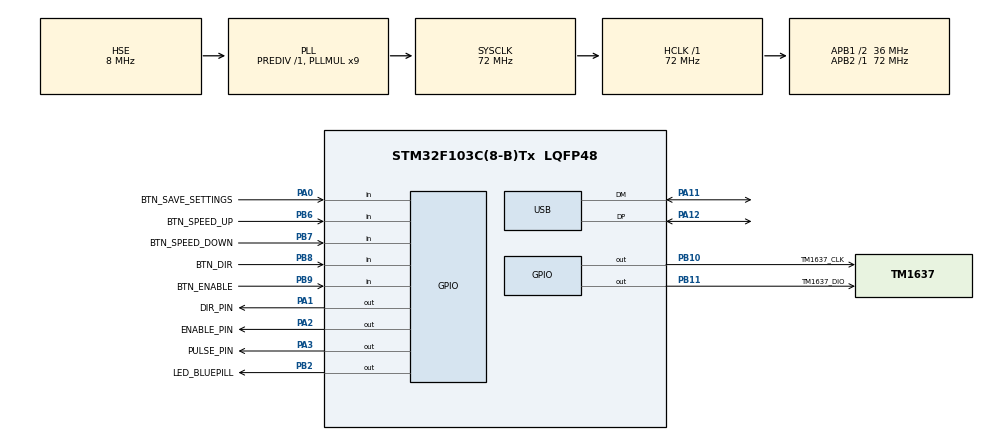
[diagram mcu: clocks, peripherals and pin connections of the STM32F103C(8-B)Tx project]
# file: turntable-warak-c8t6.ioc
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Mcu.Family=STM32F1
Mcu.Name=STM32F103C(8-B)Tx
Mcu.Package=LQFP48
NVIC.PriorityGroup=NVIC_PRIORITYGROUP_4
NVIC.TIM2_IRQn=true\:0\:0\:false\:false\:true\:true\:true\:true
NVIC.USB_LP_CAN1_RX0_IRQn=true\:0\:0\:false\:false\:true\:false\:true\:true
PA0-WKUP.GPIO_Label=BTN_SAVE_SETTINGS
PA0-WKUP.GPIO_Mode=GPIO_MODE_INPUT
PA0-WKUP.GPIO_PuPd=GPIO_PULLDOWN
PA0-WKUP.Signal=GPIO_Input
PA1.GPIO_Label=DIR_PIN
PA1.Signal=GPIO_Output
PA11.Mode=Device
PA11.Signal=USB_DM
PA12.Mode=Device
PA12.Signal=USB_DP
PA13.Mode=Serial_Wire
PA13.Signal=SYS_JTMS-SWDIO
PA14.Mode=Serial_Wire
PA14.Signal=SYS_JTCK-SWCLK
PA2.GPIO_Label=ENABLE_PIN
PA2.Signal=GPIO_Output
PA3.GPIO_Label=PULSE_PIN
PA3.Signal=GPIO_Output
PB10.GPIO_Label=TM1637_CLK
PB10.GPIO_PuPd=GPIO_NOPULL
PB10.GPIO_Speed=GPIO_SPEED_FREQ_HIGH
PB10.Signal=GPIO_Output
PB11.GPIO_Label=TM1637_DIO
PB11.GPIO_PuPd=GPIO_NOPULL
PB11.GPIO_Speed=GPIO_SPEED_FREQ_HIGH
PB11.Signal=GPIO_Output
PB2.GPIO_Label=LED_BLUEPILL
PB2.Signal=GPIO_Output
PB6.GPIO_Label=BTN_SPEED_UP
PB6.GPIO_Mode=GPIO_MODE_INPUT
PB6.GPIO_PuPd=GPIO_PULLUP
PB6.Signal=GPIO_Input
PB7.GPIO_Label=BTN_SPEED_DOWN
PB7.GPIO_Mode=GPIO_MODE_INPUT
PB7.GPIO_PuPd=GPIO_PULLUP
PB7.Signal=GPIO_Input
PB8.GPIO_Label=BTN_DIR
PB8.GPIO_Mode=GPIO_MODE_INPUT
PB8.GPIO_PuPd=GPIO_PULLUP
PB8.Signal=GPIO_Input
PB9.GPIO_Label=BTN_ENABLE
PB9.GPIO_Mode=GPIO_MODE_INPUT
PB9.GPIO_PuPd=GPIO_PULLUP
PB9.Signal=GPIO_Input
PD0-OSC_IN.Mode=HSE-External-Oscillator
PD0-OSC_IN.Signal=RCC_OSC_IN
PD1-OSC_OUT.Mode=HSE-External-Oscillator
PD1-OSC_OUT.Signal=RCC_OSC_OUT
ProjectManager.HeapSize=0x200
ProjectManager.StackSize=0x400
ProjectManager.TargetToolchain=STM32CubeIDE
RCC.AHBFreq_Value=72000000
RCC.APB1CLKDivider=RCC_HCLK_DIV2
RCC.APB1Freq_Value=36000000
RCC.APB1TimFreq_Value=72000000
RCC.APB2Freq_Value=72000000
RCC.APB2TimFreq_Value=72000000
RCC.HCLKFreq_Value=72000000
RCC.PLLMUL=RCC_PLL_MUL9
RCC.SYSCLKFreq_VALUE=72000000
RCC.SYSCLKSource=RCC_SYSCLKSOURCE_PLLCLK
RCC.USBFreq_Value=48000000
RCC.USBPrescaler=RCC_USBCLKSOURCE_PLL_DIV1_5
TIM2.AutoReloadPreload=TIM_AUTORELOAD_PRELOAD_DISABLE
TIM2.Period=65535
TIM2.Prescaler=2
USB_DEVICE.CLASS_NAME_FS=CDC
USB_DEVICE.VirtualMode=Cdc
USB_DEVICE.VirtualModeFS=Cdc_FS
VP_TIM2_VS_ClockSourceINT.Mode=Internal
VP_USB_DEVICE_VS_USB_DEVICE_CDC_FS.Mode=CDC_FS
board=custom

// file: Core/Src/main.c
/* USER CODE BEGIN Header */
/**
 ******************************************************************************
 * @file           : main.c
 * @brief          : Main program body
 ******************************************************************************
 * @attention
 *
 * Copyright (c) 2025 STMicroelectronics.
 * All rights reserved.
 *
 * This software is licensed under terms that can be found in the LICENSE file
 * in the root directory of this software component.
 * If no LICENSE file comes with this software, it is provided AS-IS.
 *
 ******************************************************************************
 */
/* USER CODE END Header */
#include "main.h"
#include "usb_device.h"

/* USER CODE BEGIN Includes */
#include <stdio.h>
#include <string.h>
#include <stdlib.h> // For atoi
#include <usbd_cdc_if.h>
/* USER CODE END Includes */

/* USER CODE BEGIN PTD */
// TM1637 Commands
#define TM1637_CMD_SET_DATA 0x40
#define TM1637_CMD_SET_ADDR 0xC0
#define TM1637_CMD_SET_DSIPLAY 0x80
#define TM1637_CMD_STOP_DSIPLAY 0x8A

// Indeks untuk karakter khusus di segment_map
#define SEG_IDX_BLANK 10
#define SEG_IDX_MINUS 11 // Indeks baru untuk karakter '-'

// Stepper speed control
#define MAX_SPEED_LEVEL 100 // speed maksimum yang diperbolehkan
#define MIN_SPEED_LEVEL 1   // speed minimum yang diperbolehkan
#define DEFAULT_SPEED_LEVEL 5
#define PULSE_TIMER_BASE_ARR 65535 // Corresponds to slowest speed (larger ARR = slower)
#define PULSE_TIMER_ARR_STEP 611   // Amount ARR decreases per speed level increase
// Define a minimum practical ARR value for your timer at the highest speed
#define MINIMUM_TIMER_ARR_VALUE 200 // Example: Allows for high frequency. Adjust as needed.

// Flash memory settings
#define FLASH_SETTINGS_PAGE_ADDR 0x0800FC00 // Example: Last 1KB page on 64KB STM32F103C8

// Default Accel/Decel step delays in milliseconds (time between speed level increments/decrements)
#define DEFAULT_ACCEL_DELAY_MS 50 // ms per speed level change during acceleration
#define DEFAULT_DECEL_DELAY_MS 50 // ms per speed level change during deceleration
/* USER CODE END PTD */

TIM_HandleTypeDef htim2;

/* USER CODE BEGIN PV */
// Stepper motor state
volatile uint8_t g_motor_enabled_target = 0;                  // Target enabled state (to be saved/loaded)
volatile uint8_t g_motor_is_running = 0;                      // Actual running state (controlled by accel/decel)
volatile uint8_t g_motor_direction = 0;                       // 0 for CW, 1 for CCW
volatile uint32_t g_current_speed_level = 0;                  // Actual current speed level (0 means stopped)
volatile uint32_t g_target_speed_level = DEFAULT_SPEED_LEVEL; // Target speed for accel/decel

// Acceleration/Deceleration parameters
volatile uint32_t g_accel_step_delay_ms = DEFAULT_ACCEL_DELAY_MS;
volatile uint32_t g_decel_step_delay_ms = DEFAULT_DECEL_DELAY_MS;
volatile uint32_t g_last_accel_decel_tick = 0;

// TM1637 Display
extern TIM_HandleTypeDef htim2; // Timer for stepper pulses

// Button debounce
uint32_t g_last_btn_speed_up_time = 0;
uint32_t g_last_btn_speed_down_time = 0;
uint32_t g_last_btn_dir_time = 0;
uint32_t g_last_btn_enable_time = 0;
uint32_t g_last_btn_save_time = 0; // For save button
const uint32_t DEBOUNCE_DELAY_MS = 150;

// Perbarui tm1637_segment_map untuk menyertakan karakter minus
const uint8_t tm1637_segment_map[] = {
    0x3f, // 0
    0x06, // 1
    0x5b, // 2
    0x4f, // 3
    0x66, // 4
    0x6d, // 5
    0x7d, // 6
    0x07, // 7
    0x7f, // 8
    0x6f, // 9
    0x00, // 10: Karakter Kosong (Blank)
    0x40  // 11: Karakter Minus '-' (hanya segmen G)
};

// Settings structure for Flash
typedef struct
{
  uint32_t speed_level_target; // Target speed level when enabled
  uint32_t direction;
  uint32_t enabled_on_startup; // Should motor be enabled after loading?
  uint32_t accel_delay_ms;
  uint32_t decel_delay_ms;
  uint32_t checksum; // Simple checksum for data integrity
} StepperSettings_TypeDef;

StepperSettings_TypeDef g_persistent_settings;
uint8_t g_save_settings_flag = 0;

// USB VCP Buffer
extern uint8_t UserRxBufferFS[APP_RX_DATA_SIZE]; // Defined in usbd_cdc_if.c
extern uint8_t UserTxBufferFS[APP_TX_DATA_SIZE]; // Defined in usbd_cdc_if.c
/* USER CODE END PV */

void SystemClock_Config(void);
static void MX_GPIO_Init(void);
static void MX_TIM2_Init(void);

/* USER CODE BEGIN 0 */
// Basic delay function for TM1637 bit-banging
void tm1637_delay_us(uint32_t us)
{
  volatile uint32_t count = us * (SystemCoreClock / 1000000 / 5); // Adjust divisor for accuracy
  while (count--)
    ;
}

// GPIO wrappers for TM1637
void tm1637_clk_high(void) { HAL_GPIO_WritePin(TM1637_CLK_GPIO_Port, TM1637_CLK_Pin, GPIO_PIN_SET); }
void tm1637_clk_low(void) { HAL_GPIO_WritePin(TM1637_CLK_GPIO_Port, TM1637_CLK_Pin, GPIO_PIN_RESET); }
void tm1637_dio_high(void) { HAL_GPIO_WritePin(TM1637_DIO_GPIO_Port, TM1637_DIO_Pin, GPIO_PIN_SET); }
void tm1637_dio_low(void) { HAL_GPIO_WritePin(TM1637_DIO_GPIO_Port, TM1637_DIO_Pin, GPIO_PIN_RESET); }

void tm1637_start(void)
{
  tm1637_clk_high();
  tm1637_dio_high(); // Ensure DIO is high before CLK high to DIO low transition for start
  tm1637_delay_us(2);
  tm1637_dio_low();
  // tm1637_clk_low(); // Keep CLK low after start
  // tm1637_delay_us(5);
}

void tm1637_stop(void)
{
  tm1637_clk_low();
  tm1637_delay_us(2);
  tm1637_dio_low();
  tm1637_delay_us(2);
  tm1637_clk_high();
  tm1637_delay_us(2);
  tm1637_dio_high();
}

uint8_t tm1637_write_byte_ack(uint8_t byte)
{
  for (uint8_t i = 0; i < 8; i++)
  {
    tm1637_clk_low();
    // tm1637_delay_us(3);
    if (byte & 0x01)
    {
      tm1637_dio_high();
    }
    else
    {
      tm1637_dio_low();
    }
    tm1637_delay_us(3);
    byte >>= 1;
    tm1637_clk_high();
    tm1637_delay_us(3);
  }
  // Wait for ACK
  tm1637_clk_low();
  tm1637_delay_us(5);
  tm1637_clk_high();
  tm1637_delay_us(2);
  tm1637_clk_low();
  // tm1637_dio_high(); // Release DIO
  // uint8_t ack = HAL_GPIO_ReadPin(TM1637_DIO_GPIO_Port, TM1637_DIO_Pin); // Requires DIO to be input
  // return ack == 0; // ACK is low
  return 1; // Simplified: assume ACK ok
}

void tm1637_set_brightness(uint8_t brightness_0_to_7)
{
  tm1637_start();
  tm1637_write_byte_ack(TM1637_CMD_SET_DSIPLAY | (brightness_0_to_7 & 0x07) | 0x08); // 0x08 = display ON
  tm1637_stop();
}

void tm1637_display_segments_at_pos(uint8_t position_0_to_3, uint8_t segment_data)
{
  tm1637_start();
  tm1637_write_byte_ack(TM1637_CMD_SET_ADDR | (position_0_to_3 & 0x03));
  tm1637_write_byte_ack(segment_data);
  tm1637_stop();
}

// void tm1637_display_number(uint16_t number)
// {                                                                             // Displays 0-99 for speed
//   uint8_t digits[4] = {tm1637_segment_map[10], tm1637_segment_map[10], 0, 0}; // Blank, Blank, D1, D0

//   if (number > 99)
//     number = 99; // Cap at 99 for two-digit display

//   digits[2] = tm1637_segment_map[number / 10]; // Tens digit
//   digits[3] = tm1637_segment_map[number % 10]; // Units digit

//   // If number is less than 10, blank the tens digit (optional)
//   if (number < 10)
//   {
//     digits[2] = tm1637_segment_map[10]; // Blank
//   }

//   tm1637_start();
//   tm1637_write_byte_ack(TM1637_CMD_SET_DATA); // Data command: write data to display register, auto increment address
//   tm1637_stop();

//   tm1637_start();
//   tm1637_write_byte_ack(TM1637_CMD_SET_ADDR | 0x00); // Start at address 0 ( leftmost digit)
//   for (uint8_t i = 0; i < 4; i++)
//   {
//     tm1637_write_byte_ack(digits[i]);
//   }
//   tm1637_stop();
//   tm1637_set_brightness(7); // Ensure display is on with brightness
// }

// void tm1637_init(void)
// {
//   // GPIOs are configured by CubeMX
//   tm1637_set_brightness(7); // Set brightness and turn display on
//   tm1637_display_number(0); // Display 0 initially
// }

// FUNGSI BARU untuk menampilkan kecepatan dan arah
void tm1637_display_speed_direction(uint16_t speed, uint8_t motor_direction_flag)
{
  uint8_t display_segments[4]; // Array untuk menampung data segmen keempat digit

  // Digit 0 (paling kiri): Arah putaran
  // Asumsi: g_motor_direction = 1 berarti arah yang akan ditampilkan dengan '-'
  //         g_motor_direction = 0 berarti arah lain (kosong atau simbol lain)
  if (motor_direction_flag == 1)
  { // Jika arah perlu ditampilkan sebagai minus
    display_segments[0] = tm1637_segment_map[SEG_IDX_MINUS];
  }
  else
  {
    display_segments[0] = tm1637_segment_map[SEG_IDX_BLANK]; // Kosong untuk arah default
  }

  // Digit 1, 2, 3 (tiga digit paling kanan): Kecepatan
  // Batasi tampilan kecepatan hingga 999 jika MAX_SPEED_LEVEL Anda mendukungnya
  if (speed > 999)
  {
    speed = 999; // Tampilkan maksimal 999
  }

  // Ekstrak digit kecepatan (0-999)
  display_segments[1] = tm1637_segment_map[(speed / 100) % 10]; // Ratusan
  display_segments[2] = tm1637_segment_map[(speed / 10) % 10];  // Puluhan
  display_segments[3] = tm1637_segment_map[speed % 10];         // Satuan

  // Kirim data segmen ke TM1637
  tm1637_start();
  tm1637_write_byte_ack(TM1637_CMD_SET_DATA); // Perintah setting data: mode auto-increment address
  tm1637_stop();

  tm1637_start();
  tm1637_write_byte_ack(TM1637_CMD_SET_ADDR); // Set alamat awal ke digit paling kiri (0xC0)
  for (uint8_t i = 0; i < 4; i++)
  {
    tm1637_write_byte_ack(display_segments[i]);
  }
  tm1637_stop();

  tm1637_start();
  tm1637_write_byte_ack(TM1637_CMD_STOP_DSIPLAY);
  tm1637_stop();

  // Pastikan display menyala dengan brightness yang diinginkan (mungkin sudah di-set di tm1637_init)
  // tm1637_set_brightness(7); // Baris ini bisa ada atau tidak, tergantung preferensi
}

// Modifikasi tm1637_init untuk menggunakan fungsi display baru
void tm1637_init(void)
{
  // GPIOs are configured by CubeMX
  tm1637_set_brightness(7); // Set brightness and turn display on
  // Panggil fungsi display baru dengan nilai awal
  // Asumsikan arah awal adalah 0 (tidak minus) dan kecepatan awal 0
  tm1637_display_speed_direction(0, 0);
}

void stepper_update_speed_timer(void)
{
  // This function now uses g_current_speed_level which is gradually changed
  if (!g_motor_is_running || g_current_speed_level < MIN_SPEED_LEVEL)
  {
    HAL_TIM_Base_Stop_IT(&htim2);
    if (g_current_speed_level == 0 && g_motor_is_running)
    {
      g_motor_is_running = 0;                                                // Motor has effectively stopped
      HAL_GPIO_WritePin(ENABLE_PIN_GPIO_Port, ENABLE_PIN_Pin, GPIO_PIN_SET); // Disable driver if fully stopped
      // printf("Motor fully stopped (ARR update).\n"); // Already printed in accel/decel logic
    }
    return;
  }

  HAL_TIM_Base_Stop_IT(&htim2); // Stop timer before changing period

  uint32_t new_arr_value;
  if (g_current_speed_level <= MIN_SPEED_LEVEL)
  {
    new_arr_value = PULSE_TIMER_BASE_ARR; // ARR for the slowest defined speed
  }
  else
  {
    // Calculate ARR: higher speed level means smaller ARR (faster pulses)
    // Ensure the subtraction doesn't go too far with very high speed_levels
    uint32_t arr_reduction = (g_current_speed_level - MIN_SPEED_LEVEL) * PULSE_TIMER_ARR_STEP;

    if (arr_reduction >= PULSE_TIMER_BASE_ARR)
    { // Prevents underflow if reduction is too large
      new_arr_value = MINIMUM_TIMER_ARR_VALUE;
    }
    else
    {
      new_arr_value = PULSE_TIMER_BASE_ARR - arr_reduction;
    }
  }

  // Corrected Sanity check for ARR value
  if (new_arr_value < MINIMUM_TIMER_ARR_VALUE)
  {
    new_arr_value = MINIMUM_TIMER_ARR_VALUE; // Cap at minimum ARR (highest frequency)
  }
  if (new_arr_value > PULSE_TIMER_BASE_ARR)
  {                                       // Should not happen with current logic if MIN_SPEED_LEVEL is handled
    new_arr_value = PULSE_TIMER_BASE_ARR; // Cap at maximum ARR (slowest frequency)
  }

  __HAL_TIM_SET_AUTORELOAD(&htim2, new_arr_value);
  __HAL_TIM_SET_COUNTER(&htim2, 0); // Reset counter to apply new period immediately
  HAL_TIM_Base_Start_IT(&htim2);
}

// No direct stepper_enable/disable_motor. Instead, change g_motor_enabled_target.
// The accel/decel logic will handle actual start/stop.

void stepper_set_direction(uint8_t dir)
{
  HAL_GPIO_WritePin(DIR_PIN_GPIO_Port, DIR_PIN_Pin, (dir == 0) ? GPIO_PIN_RESET : GPIO_PIN_SET);
  g_motor_direction = dir;
  printf("Target Direction set to: %s\n", dir == 0 ? "CW" : "CCW");
}

// Accel/Decel handler (call this in the main loop)
void handle_acceleration_deceleration(void)
{
  uint32_t current_tick = HAL_GetTick();

  if (g_motor_enabled_target && g_current_speed_level < g_target_speed_level)
  {
    // Accelerate
    if (current_tick - g_last_accel_decel_tick >= g_accel_step_delay_ms)
    {
      if (!g_motor_is_running)
      {                                                                          // First step of enabling
        HAL_GPIO_WritePin(ENABLE_PIN_GPIO_Port, ENABLE_PIN_Pin, GPIO_PIN_RESET); // Enable driver
        g_motor_is_running = 1;
        printf("Motor starting (enabling driver)...\n");
      }
      g_current_speed_level++;
      stepper_update_speed_timer();
      g_last_accel_decel_tick = current_tick;
      // printf("Accel: Current Speed Level: %lu\n", g_current_speed_level);
    }
  }
  else if ((!g_motor_enabled_target && g_current_speed_level > 0) || (g_motor_enabled_target && g_current_speed_level > g_target_speed_level))
  {
    // Decelerate (either to stop or to a lower target speed)
    if (current_tick - g_last_accel_decel_tick >= g_decel_step_delay_ms)
    {
      g_current_speed_level--;
      stepper_update_speed_timer(); // This will stop timer if g_current_speed_level reaches 0
      g_last_accel_decel_tick = current_tick;
      // printf("Decel: Current Speed Level: %lu\n", g_current_speed_level);
      if (g_current_speed_level == 0 && !g_motor_enabled_target)
      {
        // If we were decelerating to stop, and now at 0
        // stepper_update_speed_timer would have called HAL_TIM_Base_Stop_IT
        // and also set g_motor_is_running = 0 and disabled EN pin.
      }
    }
  }
  else if (g_motor_enabled_target && g_current_speed_level == 0 && g_target_speed_level >= MIN_SPEED_LEVEL && !g_motor_is_running)
  {
    // Special case: Motor is enabled, target speed > 0, but current speed is 0 (e.g. just enabled)
    // Force first step of acceleration
    if (current_tick - g_last_accel_decel_tick >= g_accel_step_delay_ms)
    {
      HAL_GPIO_WritePin(ENABLE_PIN_GPIO_Port, ENABLE_PIN_Pin, GPIO_PIN_RESET); // Enable driver
      g_motor_is_running = 1;
      g_current_speed_level++;
      stepper_update_speed_timer();
      g_last_accel_decel_tick = current_tick;
      printf("Motor starting up, Accel: Current Speed Level: %lu\n", g_current_speed_level);
    }
  }

  // If target speed is 0 but motor_enabled_target is true, it implies we want to hold position (if driver supports)
  // For now, this logic assumes target_speed_level is MIN_SPEED_LEVEL if enabled.
  // Or, if g_target_speed_level is set to 0 explicitly, it will decelerate to 0.
  if (g_motor_enabled_target && g_target_speed_level == 0 && g_current_speed_level > 0)
  {
    // Decelerate to stop if target is 0 but motor is "enabled" (meaning it was running)
    if (current_tick - g_last_accel_decel_tick >= g_decel_step_delay_ms)
    {
      g_current_speed_level--;
      stepper_update_speed_timer();
      g_last_accel_decel_tick = current_tick;
    }
  }
}

void handle_buttons(void)
{
  uint32_t current_tick = HAL_GetTick();

  // Speed Up Button (PB6)
  if (HAL_GPIO_ReadPin(BTN_SPEED_UP_GPIO_Port, BTN_SPEED_UP_Pin) == GPIO_PIN_RESET)
  {
    if (current_tick - g_last_btn_speed_up_time > DEBOUNCE_DELAY_MS)
    {
      if (g_target_speed_level < MAX_SPEED_LEVEL)
      {
        g_target_speed_level++;
        printf("Target Speed Increased: %lu\n", g_target_speed_level);
      }
      g_last_btn_speed_up_time = current_tick;
    }
  }

  // Speed Down Button (PB7)
  if (HAL_GPIO_ReadPin(BTN_SPEED_DOWN_GPIO_Port, BTN_SPEED_DOWN_Pin) == GPIO_PIN_RESET)
  {
    if (current_tick - g_last_btn_speed_down_time > DEBOUNCE_DELAY_MS)
    {
      // Allow decreasing target speed to 0, which means "stop"
      if (g_target_speed_level > 0)
      { // Can go down to 0
        g_target_speed_level--;
        printf("Target Speed Decreased: %lu\n", g_target_speed_level);
      }
      if (g_target_speed_level == 0 && g_motor_enabled_target)
      {
        // If motor is enabled and target speed becomes 0, initiate stop
        printf("Target speed set to 0, motor will decelerate and stop.\n");
      }
      g_last_btn_speed_down_time = current_tick;
    }
  }

  // Direction Button (PB8)
  if (HAL_GPIO_ReadPin(BTN_DIR_GPIO_Port, BTN_DIR_Pin) == GPIO_PIN_RESET)
  {
    if (current_tick - g_last_btn_dir_time > DEBOUNCE_DELAY_MS)
    {
      stepper_set_direction(!g_motor_direction); // Toggles target direction
      g_last_btn_dir_time = current_tick;
    }
  }

  // Enable/Disable Button (PB9) - This now sets the *target* enabled state
  if (HAL_GPIO_ReadPin(BTN_ENABLE_GPIO_Port, BTN_ENABLE_Pin) == GPIO_PIN_RESET)
  {
    if (current_tick - g_last_btn_enable_time > DEBOUNCE_DELAY_MS)
    {
      g_motor_enabled_target = !g_motor_enabled_target;
      if (g_motor_enabled_target)
      {
        printf("Motor Enable Target: ON\n");
        if (g_target_speed_level == 0)
          g_target_speed_level = MIN_SPEED_LEVEL; // If enabling, ensure a minimum run speed
      }
      else
      {
        printf("Motor Enable Target: OFF (will decelerate to stop)\n");
        // Deceleration to 0 will be handled by handle_acceleration_deceleration
      }
      g_last_btn_enable_time = current_tick;
    }
  }

  // Save Settings Button (PA0)
  if (HAL_GPIO_ReadPin(BTN_SAVE_SETTINGS_GPIO_Port, BTN_SAVE_SETTINGS_Pin) == GPIO_PIN_SET)
  {
    if (current_tick - g_last_btn_save_time > DEBOUNCE_DELAY_MS)
    {
      g_save_settings_flag = 1; // Set flag to save in main loop
      printf("Save settings button pressed.\n");
      g_last_btn_save_time = current_tick;
    }
  }
}

uint32_t calculate_checksum(StepperSettings_TypeDef *settings)
{
  uint8_t *p_data = (uint8_t *)settings;
  uint32_t chk = 0;
  // Calculate checksum over all fields except the checksum field itself
  for (uint16_t i = 0; i < (sizeof(StepperSettings_TypeDef) - sizeof(uint32_t)); i++)
  {
    chk += p_data[i];
  }
  return chk;
}

void load_settings_from_flash(void)
{
  printf("Loading settings from Flash...\n");
  StepperSettings_TypeDef temp_settings;
  memcpy(&temp_settings, (void *)FLASH_SETTINGS_PAGE_ADDR, sizeof(StepperSettings_TypeDef));

  if (calculate_checksum(&temp_settings) == temp_settings.checksum)
  {
    g_persistent_settings = temp_settings;
    // Apply loaded settings
    g_target_speed_level = g_persistent_settings.speed_level_target;
    if (g_target_speed_level == 0)
      g_target_speed_level = MIN_SPEED_LEVEL; // Ensure a valid running speed if enabled
    if (g_target_speed_level > MAX_SPEED_LEVEL)
      g_target_speed_level = MAX_SPEED_LEVEL;

    g_motor_direction = g_persistent_settings.direction;
    g_motor_enabled_target = g_persistent_settings.enabled_on_startup; // This is the target state
    g_accel_step_delay_ms = g_persistent_settings.accel_delay_ms;
    g_decel_step_delay_ms = g_persistent_settings.decel_delay_ms;

    // Sanitize loaded accel/decel delays
    if (g_accel_step_delay_ms < 10)
      g_accel_step_delay_ms = 10;
    if (g_decel_step_delay_ms < 10)
      g_decel_step_delay_ms = 10;

    printf("Settings loaded: SpeedTgt=%lu, Dir=%d, EnStartup=%d, Accel=%lums, Decel=%lums\n",
           g_target_speed_level, g_motor_direction, g_motor_enabled_target,
           g_accel_step_delay_ms, g_decel_step_delay_ms);
  }
  else
  {
    printf("Flash checksum error or no valid settings. Loading defaults.\n");
    // Load default settings if checksum fails or first run
    g_target_speed_level = DEFAULT_SPEED_LEVEL;
    g_motor_direction = 0;
    g_motor_enabled_target = 0; // Default to disabled
    g_accel_step_delay_ms = DEFAULT_ACCEL_DELAY_MS;
    g_decel_step_delay_ms = DEFAULT_DECEL_DELAY_MS;
    // Optionally save these defaults back to flash
    // g_save_settings_flag = 1; // To save defaults on next opportunity
  }
  // Initialize current speed to 0, actual running state will be handled by enable logic
  g_current_speed_level = 0;
}

void save_settings_to_flash(void)
{
  printf("Preparing to save settings to Flash...\n");
  HAL_FLASH_Unlock();

  FLASH_EraseInitTypeDef EraseInitStruct;
  uint32_t PageError = 0;
  EraseInitStruct.TypeErase = FLASH_TYPEERASE_PAGES;
  EraseInitStruct.PageAddress = FLASH_SETTINGS_PAGE_ADDR;
  EraseInitStruct.NbPages = 1;

  if (HAL_FLASHEx_Erase(&EraseInitStruct, &PageError) != HAL_OK)
  {
    printf("Flash erase failed! Error: %lu\n", PageError);
    HAL_FLASH_Lock();
    return;
  }
  printf("Flash page erased.\n");

  // Prepare settings to save
  g_persistent_settings.speed_level_target = g_target_speed_level;
  g_persistent_settings.direction = g_motor_direction;
  g_persistent_settings.enabled_on_startup = g_motor_enabled_target;
  g_persistent_settings.accel_delay_ms = g_accel_step_delay_ms;
  g_persistent_settings.decel_delay_ms = g_decel_step_delay_ms;
  g_persistent_settings.checksum = calculate_checksum(&g_persistent_settings);

  // Program word by word (uint32_t)
  uint32_t *p_data = (uint32_t *)&g_persistent_settings;
  uint16_t num_words = sizeof(StepperSettings_TypeDef) / sizeof(uint32_t);
  if (sizeof(StepperSettings_TypeDef) % sizeof(uint32_t) != 0)
  {
    // If not perfectly divisible, may need to handle last few bytes differently or pad struct
    // For simplicity, ensure StepperSettings_TypeDef size is a multiple of 4 bytes.
  }

  for (uint16_t i = 0; i < num_words; i++)
  {
    if (HAL_FLASH_Program(FLASH_TYPEPROGRAM_WORD, FLASH_SETTINGS_PAGE_ADDR + (i * 4), p_data[i]) != HAL_OK)
    {
      printf("Flash program failed at word %u!\n", i);
      HAL_FLASH_Lock();
      return;
    }
  }

  HAL_FLASH_Lock();
  printf("Settings saved to Flash: SpeedTgt=%lu, Dir=%lu, EnStartup=%lu, Accel=%lums, Decel=%lums, Chksum=%lu\n",
         g_persistent_settings.speed_level_target, g_persistent_settings.direction,
         g_persistent_settings.enabled_on_startup, g_persistent_settings.accel_delay_ms,
         g_persistent_settings.decel_delay_ms, g_persistent_settings.checksum);
  g_save_settings_flag = 0; // Clear flag
}
/* USER CODE END 0 */

int main(void)
{

  /* MCU Configuration--------------------------------------------------------*/

  /* Reset of all peripherals, Initializes the Flash interface and the Systick. */
  HAL_Init();

  /* Configure the system clock */
  SystemClock_Config();

  /* Initialize all configured peripherals */
  MX_GPIO_Init();
  MX_USB_DEVICE_Init();
  MX_TIM2_Init();
  /* USER CODE BEGIN 2 */
  printf("Stepper Motor Control Initializing...\n");

  load_settings_from_flash(); // Load saved settings

  stepper_set_direction(g_motor_direction); // Apply loaded/default direction

  // If loaded settings indicate motor should be enabled on startup:
  if (g_persistent_settings.enabled_on_startup)
  {
    g_motor_enabled_target = 1;
    // Accel/decel logic will start it up to g_target_speed_level
    printf("Motor target set to ENABLED on startup. Target speed: %lu\n", g_target_speed_level);
  }
  else
  {
    g_motor_enabled_target = 0;
    g_current_speed_level = 0;                                             // Ensure it starts at 0 if not enabled on startup
    HAL_GPIO_WritePin(ENABLE_PIN_GPIO_Port, ENABLE_PIN_Pin, GPIO_PIN_SET); // Ensure driver is disabled
    g_motor_is_running = 0;
    printf("Motor target set to DISABLED on startup.\n");
  }
  g_last_accel_decel_tick = HAL_GetTick();

  printf("System Initialized. Current Speed: %lu, Target Speed: %lu\n", g_current_speed_level, g_target_speed_level);
  /* USER CODE END 2 */

  /* Infinite loop */
  /* USER CODE BEGIN WHILE */
  while (1)
  {
    handle_buttons();
    handle_acceleration_deceleration();

    if (g_save_settings_flag)
    {
      save_settings_to_flash(); // Perform save operation
      g_save_settings_flag = 0; // Reset flag
    }

    if (g_motor_is_running)
    {
      tm1637_display_speed_direction(g_current_speed_level, g_motor_direction);
      // tm1637_display_number(g_current_speed_level);
      HAL_GPIO_WritePin(LED_BLUEPILL_GPIO_Port, LED_BLUEPILL_Pin, GPIO_PIN_SET); // turn on led
    }
    else
    {
      tm1637_display_speed_direction(g_target_speed_level, g_motor_direction);
      // tm1637_display_number(g_current_speed_level);
      HAL_GPIO_WritePin(LED_BLUEPILL_GPIO_Port, LED_BLUEPILL_Pin, GPIO_PIN_RESET);
    }

    //    HAL_Delay(10); // Main loop delay - Accel/Decel timing is based on HAL_GetTick()

    /* USER CODE END WHILE */

  }
}

void SystemClock_Config(void)
{
  RCC_OscInitTypeDef RCC_OscInitStruct = {0};
  RCC_ClkInitTypeDef RCC_ClkInitStruct = {0};
  RCC_PeriphCLKInitTypeDef PeriphClkInit = {0};

  /** Initializes the RCC Oscillators according to the specified parameters
  * in the RCC_OscInitTypeDef structure.
  */
  RCC_OscInitStruct.OscillatorType = RCC_OSCILLATORTYPE_HSE;
  RCC_OscInitStruct.HSEState = RCC_HSE_ON;
  RCC_OscInitStruct.HSEPredivValue = RCC_HSE_PREDIV_DIV1;
  RCC_OscInitStruct.HSIState = RCC_HSI_ON;
  RCC_OscInitStruct.PLL.PLLState = RCC_PLL_ON;
  RCC_OscInitStruct.PLL.PLLSource = RCC_PLLSOURCE_HSE;
  RCC_OscInitStruct.PLL.PLLMUL = RCC_PLL_MUL9;
  if (HAL_RCC_OscConfig(&RCC_OscInitStruct) != HAL_OK)
  {
    Error_Handler();
  }

  /** Initializes the CPU, AHB and APB buses clocks
  */
  RCC_ClkInitStruct.ClockType = RCC_CLOCKTYPE_HCLK|RCC_CLOCKTYPE_SYSCLK
                              |RCC_CLOCKTYPE_PCLK1|RCC_CLOCKTYPE_PCLK2;
  RCC_ClkInitStruct.SYSCLKSource = RCC_SYSCLKSOURCE_PLLCLK;
  RCC_ClkInitStruct.AHBCLKDivider = RCC_SYSCLK_DIV1;
  RCC_ClkInitStruct.APB1CLKDivider = RCC_HCLK_DIV2;
  RCC_ClkInitStruct.APB2CLKDivider = RCC_HCLK_DIV1;

  if (HAL_RCC_ClockConfig(&RCC_ClkInitStruct, FLASH_LATENCY_2) != HAL_OK)
  {
    Error_Handler();
  }
  PeriphClkInit.PeriphClockSelection = RCC_PERIPHCLK_USB;
  PeriphClkInit.UsbClockSelection = RCC_USBCLKSOURCE_PLL_DIV1_5;
  if (HAL_RCCEx_PeriphCLKConfig(&PeriphClkInit) != HAL_OK)
  {
    Error_Handler();
  }
}

static void MX_TIM2_Init(void)
{

  TIM_ClockConfigTypeDef sClockSourceConfig = {0};
  TIM_MasterConfigTypeDef sMasterConfig = {0};

  htim2.Instance = TIM2;
  htim2.Init.Prescaler = 2;
  htim2.Init.CounterMode = TIM_COUNTERMODE_UP;
  htim2.Init.Period = 65535;
  htim2.Init.ClockDivision = TIM_CLOCKDIVISION_DIV1;
  htim2.Init.AutoReloadPreload = TIM_AUTORELOAD_PRELOAD_DISABLE;
  if (HAL_TIM_Base_Init(&htim2) != HAL_OK)
  {
    Error_Handler();
  }
  sClockSourceConfig.ClockSource = TIM_CLOCKSOURCE_INTERNAL;
  if (HAL_TIM_ConfigClockSource(&htim2, &sClockSourceConfig) != HAL_OK)
  {
    Error_Handler();
  }
  sMasterConfig.MasterOutputTrigger = TIM_TRGO_RESET;
  sMasterConfig.MasterSlaveMode = TIM_MASTERSLAVEMODE_DISABLE;
  if (HAL_TIMEx_MasterConfigSynchronization(&htim2, &sMasterConfig) != HAL_OK)
  {
    Error_Handler();
  }

}

static void MX_GPIO_Init(void)
{
  GPIO_InitTypeDef GPIO_InitStruct = {0};

  /* GPIO Ports Clock Enable */
  __HAL_RCC_GPIOD_CLK_ENABLE();
  __HAL_RCC_GPIOA_CLK_ENABLE();
  __HAL_RCC_GPIOB_CLK_ENABLE();

  /*Configure GPIO pin Output Level */
  HAL_GPIO_WritePin(GPIOA, DIR_PIN_Pin|ENABLE_PIN_Pin|PULSE_PIN_Pin, GPIO_PIN_RESET);

  /*Configure GPIO pin Output Level */
  HAL_GPIO_WritePin(GPIOB, LED_BLUEPILL_Pin|TM1637_CLK_Pin|TM1637_DIO_Pin, GPIO_PIN_RESET);

  /*Configure GPIO pin : BTN_SAVE_SETTINGS_Pin */
  GPIO_InitStruct.Pin = BTN_SAVE_SETTINGS_Pin;
  GPIO_InitStruct.Mode = GPIO_MODE_INPUT;
  GPIO_InitStruct.Pull = GPIO_PULLDOWN;
  HAL_GPIO_Init(BTN_SAVE_SETTINGS_GPIO_Port, &GPIO_InitStruct);

  /*Configure GPIO pins : DIR_PIN_Pin ENABLE_PIN_Pin PULSE_PIN_Pin */
  GPIO_InitStruct.Pin = DIR_PIN_Pin|ENABLE_PIN_Pin|PULSE_PIN_Pin;
  GPIO_InitStruct.Mode = GPIO_MODE_OUTPUT_PP;
  GPIO_InitStruct.Pull = GPIO_NOPULL;
  GPIO_InitStruct.Speed = GPIO_SPEED_FREQ_LOW;
  HAL_GPIO_Init(GPIOA, &GPIO_InitStruct);

  /*Configure GPIO pin : LED_BLUEPILL_Pin */
  GPIO_InitStruct.Pin = LED_BLUEPILL_Pin;
  GPIO_InitStruct.Mode = GPIO_MODE_OUTPUT_PP;
  GPIO_InitStruct.Pull = GPIO_NOPULL;
  GPIO_InitStruct.Speed = GPIO_SPEED_FREQ_LOW;
  HAL_GPIO_Init(LED_BLUEPILL_GPIO_Port, &GPIO_InitStruct);

  /*Configure GPIO pins : TM1637_CLK_Pin TM1637_DIO_Pin */
  GPIO_InitStruct.Pin = TM1637_CLK_Pin|TM1637_DIO_Pin;
  GPIO_InitStruct.Mode = GPIO_MODE_OUTPUT_PP;
  GPIO_InitStruct.Pull = GPIO_NOPULL;
  GPIO_InitStruct.Speed = GPIO_SPEED_FREQ_HIGH;
  HAL_GPIO_Init(GPIOB, &GPIO_InitStruct);

  /*Configure GPIO pins : BTN_SPEED_UP_Pin BTN_SPEED_DOWN_Pin BTN_DIR_Pin BTN_ENABLE_Pin */
  GPIO_InitStruct.Pin = BTN_SPEED_UP_Pin|BTN_SPEED_DOWN_Pin|BTN_DIR_Pin|BTN_ENABLE_Pin;
  GPIO_InitStruct.Mode = GPIO_MODE_INPUT;
  GPIO_InitStruct.Pull = GPIO_PULLUP;
  HAL_GPIO_Init(GPIOB, &GPIO_InitStruct);

}

/* USER CODE BEGIN 4 */
void HAL_TIM_PeriodElapsedCallback(TIM_HandleTypeDef *htim)
{
  if (htim->Instance == TIM2)
  {
    if (g_motor_is_running && g_current_speed_level >= MIN_SPEED_LEVEL) // Check if motor is actually running
    {
      HAL_GPIO_TogglePin(PULSE_PIN_GPIO_Port, PULSE_PIN_Pin); // Use defines from main.h
    }
  }
}

// USB CDC Receive Callback
// This function will be defined as a weak symbol in usbd_cdc_if.c
// You need to implement it here or in usbd_cdc_if.c (outside weak definition).
// For simplicity, let's assume you put it in main.c
// Make sure you have the prototype for CDC_Transmit_FS if you use it.
// extern int8_t CDC_Transmit_FS(uint8_t* Buf, uint16_t Len);

void CDC_On_Receive(uint8_t *Buf, uint32_t Len)
{
  Buf[Len] = '\0'; // Null-terminate the received data
  printf("USB RX: %s\n", (char *)Buf);

  char cmd_buffer[64]; // Local buffer for strtok
  strncpy(cmd_buffer, (char *)Buf, sizeof(cmd_buffer) - 1);
  cmd_buffer[sizeof(cmd_buffer) - 1] = '\0';

  char *token = strtok(cmd_buffer, "=");
  if (token == NULL)
    return;

  if (strcmp(token, "$ACCEL") == 0)
  {
    char *value_str = strtok(NULL, "=");
    if (value_str != NULL)
    {
      uint32_t val = atoi(value_str);
      if (val >= 10 && val <= 10000)
      { // Min 10ms, Max 10s delay per step
        g_accel_step_delay_ms = val;
        printf("Accel delay set to: %lu ms\n", g_accel_step_delay_ms);
      }
      else
      {
        printf("Invalid accel value. Range: 10-10000\n");
      }
    }
  }
  else if (strcmp(token, "$DECEL") == 0)
  {
    char *value_str = strtok(NULL, "=");
    if (value_str != NULL)
    {
      uint32_t val = atoi(value_str);
      if (val >= 10 && val <= 10000)
      {
        g_decel_step_delay_ms = val;
        printf("Decel delay set to: %lu ms\n", g_decel_step_delay_ms);
      }
      else
      {
        printf("Invalid decel value. Range: 10-10000\n");
      }
    }
  }
  else if (strcmp(token, "$$") == 0)
  { // Command to print current settings
    char tx_buf[200];
    snprintf(tx_buf, sizeof(tx_buf),
             "TargetSpeed:%lu, CurrentSpeed:%lu, Dir:%u, EnabledTarget:%u, Accel:%lums, Decel:%lums\r\n",
             g_target_speed_level, g_current_speed_level, g_motor_direction, g_motor_enabled_target,
             g_accel_step_delay_ms, g_decel_step_delay_ms);
    CDC_Transmit_FS((uint8_t *)tx_buf, strlen(tx_buf));
  }
  else if (strcmp(token, "$SAVE") == 0)
  { // Command to trigger save
    g_save_settings_flag = 1;
    printf("Save requested via USB.\n");
    CDC_Transmit_FS((uint8_t *)"Settings will be saved.\r\n", strlen("Settings will be saved.\r\n"));
  }
  // Add other USB commands as needed
}

/* USER CODE END 4 */

void Error_Handler(void)
{
  __disable_irq();
  while (1)
  {
  }
}
